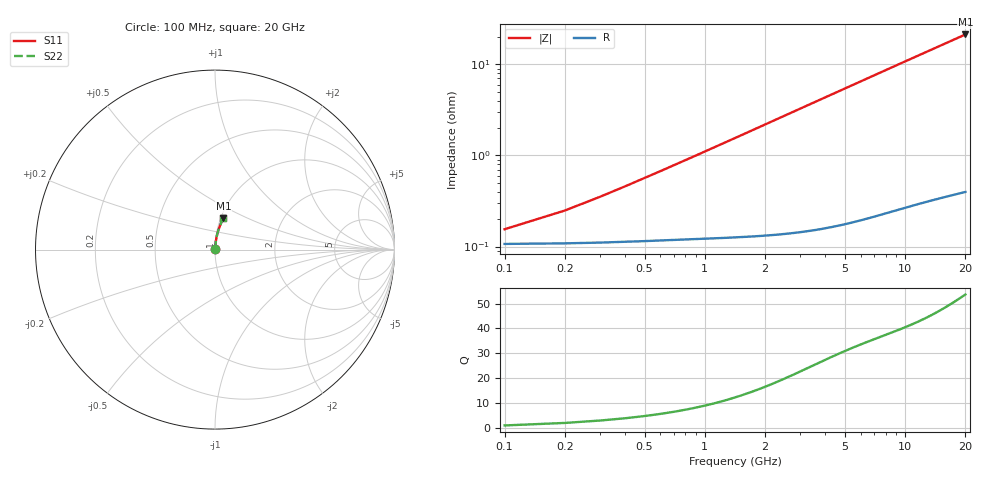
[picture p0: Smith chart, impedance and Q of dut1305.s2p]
! Touchstone file exported from HFSS 2026.1.0
!  File:  C:/ffzhzh/LocalFiles/Ansys_Project_Files/temp_train_BSMRDL_1305_1783178252_22436.aedt
!  Generated:  11:18:45 PM Jul  4, 2026
!  Design:  BSMRDL
!  Project:  temp_train_BSMRDL_1305_1783178252_22436
! Variables:
!  h_bsmrdl = 3.88um
!  h_ox = 20um
!  h_rdl = 5um
!  h_sub = 80um
!  h_tmrdl = 5um
!  h_tsv = 80um
!  h_via = 3um
!  l_bsmrdl = 124.74um
!  l_sub = 524.74um
!  l_tmrdl = 200um
!  m_sub = 200um
!  pitch = 52.76um
!  r_tsv = 6um
!  s_tmrdl = 10um
!  w_bsmrdl = 12.44um
!  w_sub = 500um
!  w_tmrdl = 12um
!  x_tsv_center1 = 206um
!  x_tsv_center2 = 343.18um
!  x_tsv_center3 = 555.18um
!  x_tsv_center4 = 692.36um
!  x_tsv_center5 = 904.36um
!  x_tsv_center6 = 1041.54um
# GHz S MA R 50.000000
! Terminal data exported
! Port[1] = BSM_RDL1_1_T1
! Port[2] = BSM_RDL1_1_T2
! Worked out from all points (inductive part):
!   200 points, 100 MHz to 20 GHz, reference 50 ohm
!   read as one part in series: L = 177 pH near 300 MHz
!   highest Q = 53.6 at 20 GHz (marker M1), where L = 169 pH
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0.1  0.001443 42.3  0.9989 -0.1  0.9989 -0.1  0.001443 42.3
! Gamma 0 0 0 0
! Port Impedance 50 0 50 0
0.2  0.00222 60.7  0.9989 -0.1  0.9989 -0.1  0.00222 60.7
0.3  0.0031 68.9  0.9989 -0.2  0.9989 -0.2  0.0031 68.9
0.4  0.004008 73.4  0.9989 -0.3  0.9989 -0.3  0.004008 73.4
0.5  0.004926 76.2  0.9988 -0.4  0.9988 -0.4  0.004926 76.2
0.6  0.005849 78.1  0.9988 -0.4  0.9988 -0.4  0.005849 78.1
0.8  0.007701 80.5  0.9988 -0.6  0.9988 -0.6  0.007701 80.5
1.1  0.01049 82.5  0.9987 -0.8  0.9987 -0.8  0.01049 82.5
1.5  0.01423 83.8  0.9986 -1.1  0.9986 -1.1  0.01423 83.8
1.8  0.01703 84.4  0.9986 -1.3  0.9986 -1.3  0.01703 84.4
2.1  0.01983 84.7  0.9985 -1.5  0.9985 -1.5  0.01983 84.7
2.7  0.02544 84.9  0.9983 -1.9  0.9983 -1.9  0.02544 84.9
3.5  0.0329 84.9  0.998 -2.5  0.998 -2.5  0.0329 84.9
4.2  0.03941 84.7  0.9976 -3.0  0.9976 -3.0  0.03941 84.7
5  0.04682 84.3  0.9972 -3.5  0.9972 -3.5  0.04682 84.3
5.9  0.05511 83.9  0.9966 -4.2  0.9966 -4.2  0.05511 83.9
6.8  0.06337 83.3  0.9959 -4.8  0.9959 -4.8  0.06337 83.3
8.3  0.07703 82.4  0.9947 -5.8  0.9947 -5.8  0.07703 82.4
10.1  0.09327 81.3  0.993 -7.1  0.993 -7.1  0.09327 81.3
13.4  0.1227 79.2  0.9893 -9.3  0.9893 -9.3  0.1227 79.2
16.7  0.1515 77.1  0.9849 -11.5  0.9849 -11.5  0.1515 77.1
20  0.1799 75.0  0.9798 -13.7  0.9798 -13.7  0.1799 75.0
